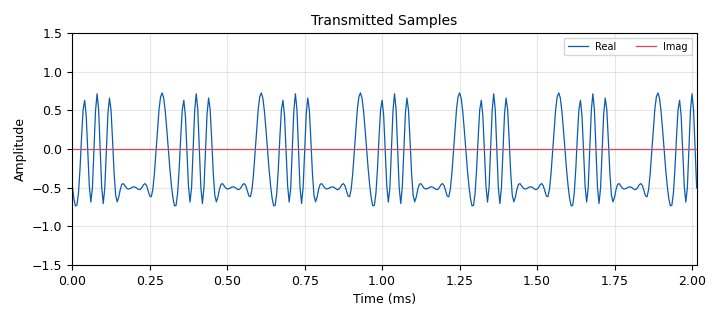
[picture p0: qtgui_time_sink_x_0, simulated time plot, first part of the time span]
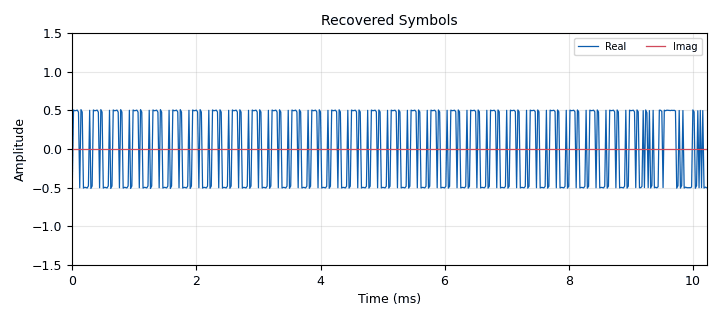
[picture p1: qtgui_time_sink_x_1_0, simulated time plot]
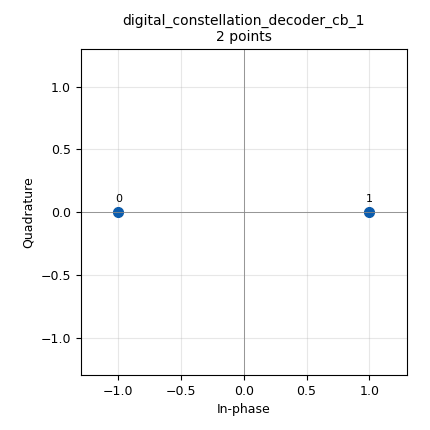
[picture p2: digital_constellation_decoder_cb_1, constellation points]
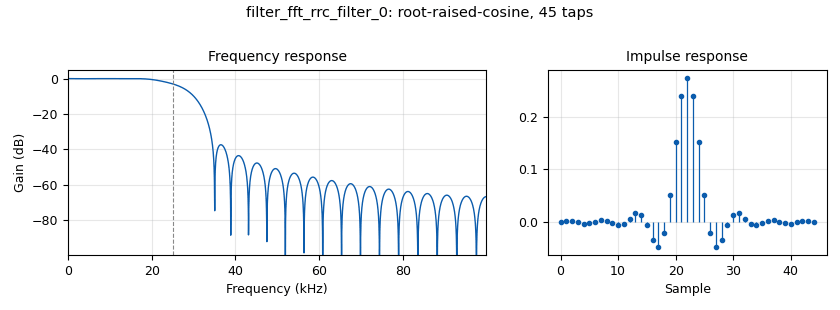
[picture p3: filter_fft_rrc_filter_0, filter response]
options:
  parameters:
    author: Frank Fu
    generate_options: qt_gui
    id: bpskfile3
    output_language: python
    title: BPSK File Transfer 3
  states: {}

blocks:
- name: constel
  id: variable_constellation
  parameters:
    precision: '8'
    type: bpsk
  states: {}
- name: hdr
  id: variable
  parameters:
    value: digital.header_format_default(digital.packet_utils.default_access_code, 0)
  states: {}
- name: packets
  id: variable
  parameters:
    value: '5'
  states: {}
- name: payload_size
  id: variable
  parameters:
    value: '64'
  states: {}
- name: postamble_size
  id: variable
  parameters:
    value: '8'
  states: {}
- name: preamble_size
  id: variable
  parameters:
    value: '32'
  states: {}
- name: samp_rate
  id: variable
  parameters:
    value: 200e3
  states: {}
- name: sps
  id: variable
  parameters:
    value: '4'
  states: {}
- name: blocks_message_debug_0
  id: blocks_message_debug
  parameters: {}
  states: {}
- name: blocks_multiply_const_vxx_0
  id: blocks_multiply_const_vxx
  parameters:
    const: '0.5'
    type: complex
  states: {}
- name: blocks_repack_bits_bb_1
  id: blocks_repack_bits_bb
  parameters:
    align_output: 'True'
    endianness: gr.GR_MSB_FIRST
    k: '1'
    l: '8'
    len_tag_key: packet_len
  states: {}
- name: blocks_stream_to_tagged_stream_0_0_0
  id: blocks_stream_to_tagged_stream
  parameters:
    len_tag_key: '"packet_len"'
    packet_len: payload_size
    type: byte
  states: {}
- name: blocks_stream_to_tagged_stream_0_0_0_0
  id: blocks_stream_to_tagged_stream
  parameters:
    len_tag_key: '"packet_len"'
    packet_len: preamble_size
    type: byte
  states: {}
- name: blocks_stream_to_tagged_stream_0_0_0_0_0
  id: blocks_stream_to_tagged_stream
  parameters:
    len_tag_key: '"packet_len"'
    packet_len: postamble_size
    type: byte
  states: {}
- name: blocks_tag_gate_0
  id: blocks_tag_gate
  parameters:
    propagate_tags: 'False'
    type: complex
  states: {}
- name: blocks_tagged_stream_mux_0
  id: blocks_tagged_stream_mux
  parameters:
    comment: |-
      Preamble
      Header
      Payload + CRC
      Postamble
    lengthtagname: packet_len
    ninputs: '4'
    type: byte
  states: {}
- name: blocks_throttle2_0
  id: blocks_throttle2
  parameters:
    limit: items
    maximum: '512'
    samples_per_second: samp_rate
    type: complex
  states: {}
- name: blocks_vector_source_x_0
  id: blocks_vector_source_x
  parameters:
    repeat: 'True'
    type: byte
    vector: '[0xc0, 0xaf]'
  states: {}
- name: blocks_vector_source_x_0_0
  id: blocks_vector_source_x
  parameters:
    repeat: 'True'
    type: byte
    vector: '[0xc0, 0xaf]'
  states: {}
- name: blocks_vector_source_x_2
  id: blocks_vector_source_x
  parameters:
    repeat: 'False'
    tags: ''
    type: byte
    vector: '[p + 48 for p in range(packets) for _ in range(payload_size)]'
  states: {}
- name: digital_constellation_decoder_cb_1
  id: digital_constellation_decoder_cb
  parameters:
    constellation: constel
  states: {}
- name: digital_constellation_modulator_0
  id: digital_constellation_modulator
  parameters:
    constellation: constel
    differential: 'True'
    excess_bw: '0.35'
    samples_per_symbol: sps
  states: {}
- name: digital_correlate_access_code_xx_ts_0
  id: digital_correlate_access_code_xx_ts
  parameters:
    access_code: digital.packet_utils.default_access_code
    tagname: packet_len
    threshold: '0'
    type: byte
  states: {}
- name: digital_costas_loop_cc_0
  id: digital_costas_loop_cc
  parameters:
    order: len(constel.points())
    w: 2*3.14/100
  states: {}
- name: digital_crc32_bb_0
  id: digital_crc32_bb
  parameters:
    check: 'False'
    lengthtagname: '"packet_len"'
    packed: 'True'
  states: {}
- name: digital_crc32_bb_1
  id: digital_crc32_bb
  parameters:
    check: 'True'
    lengthtagname: packet_len
    packed: 'True'
  states: {}
- name: digital_diff_decoder_bb_0
  id: digital_diff_decoder_bb
  parameters:
    coding: digital.DIFF_DIFFERENTIAL
    modulus: len(constel.points())
  states: {}
- name: digital_protocol_formatter_bb_0
  id: digital_protocol_formatter_bb
  parameters:
    format: hdr
    len_tag_key: packet_len
  states: {}
- name: digital_symbol_sync_xx_0
  id: digital_symbol_sync_xx
  parameters:
    constellation: constel.base()
    damping: '1.0'
    loop_bw: '0.045'
    max_dev: '1.5'
    nfilters: '32'
    osps: '1'
    resamp_type: digital.IR_MMSE_8TAP
    sps: sps
    ted_gain: '0.1'
    ted_type: digital.TED_SIGNAL_TIMES_SLOPE_ML
    type: cc
  states: {}
- name: filter_fft_rrc_filter_0
  id: filter_fft_rrc_filter
  parameters:
    alpha: '0.35'
    decim: '1'
    gain: '1'
    ntaps: 11*sps
    samp_rate: samp_rate
    sym_rate: samp_rate/sps
    type: ccc
  states: {}
- name: note_0
  id: note
  parameters:
    note: Receiver
  states: {}
- name: note_1
  id: note
  parameters:
    note: transmitter
  states: {}
- name: pdu_tagged_stream_to_pdu_0
  id: pdu_tagged_stream_to_pdu
  parameters:
    tag: packet_len
    type: byte
  states: {}
- name: qtgui_time_sink_x_0
  id: qtgui_time_sink_x
  parameters:
    grid: 'True'
    gui_hint: '[0, 0, 1, 1]'
    label1: Real
    label2: Imag
    name: '"Transmitted Samples"'
    size: '2048'
    srate: samp_rate
    style2: '3'
    tr_delay: '0.0'
    tr_mode: qtgui.TRIG_MODE_TAG
    tr_tag: '"packet_len"'
    type: complex
    ymax: '1.5'
    ymin: '-1.5'
  states: {}
- name: qtgui_time_sink_x_1_0
  id: qtgui_time_sink_x
  parameters:
    grid: 'True'
    gui_hint: '[1, 0, 1, 1]'
    label1: Real
    label2: Imag
    name: Recovered Symbols
    size: '512'
    srate: samp_rate/sps
    style2: '3'
    tr_delay: '0.0'
    tr_level: '0.01'
    type: complex
    update_time: '0.1'
    ymax: '1.5'
    ymin: '-1.5'
  states: {}
- name: virtual_sink_0
  id: virtual_sink
  parameters:
    stream_id: packet
  states: {}
- name: virtual_sink_1
  id: virtual_sink
  parameters:
    stream_id: transmit
  states: {}
- name: virtual_sink_3
  id: virtual_sink
  parameters:
    stream_id: recovery
  states: {}
- name: virtual_sink_4
  id: virtual_sink
  parameters:
    stream_id: payload
  states: {}
- name: virtual_source_0
  id: virtual_source
  parameters:
    stream_id: packet
  states: {}
- name: virtual_source_1
  id: virtual_source
  parameters:
    stream_id: transmit
  states: {}
- name: virtual_source_2
  id: virtual_source
  parameters:
    stream_id: recovery
  states: {}
- name: virtual_source_3
  id: virtual_source
  parameters:
    stream_id: payload
  states: {}

connections:
- [blocks_multiply_const_vxx_0, '0', blocks_tag_gate_0, '0']
- [blocks_multiply_const_vxx_0, '0', blocks_throttle2_0, '0']
- [blocks_multiply_const_vxx_0, '0', qtgui_time_sink_x_0, '0']
- [blocks_repack_bits_bb_1, '0', digital_crc32_bb_1, '0']
- [blocks_stream_to_tagged_stream_0_0_0, '0', digital_crc32_bb_0, '0']
- [blocks_stream_to_tagged_stream_0_0_0_0, '0', blocks_tagged_stream_mux_0, '0']
- [blocks_stream_to_tagged_stream_0_0_0_0_0, '0', blocks_tagged_stream_mux_0, '3']
- [blocks_tag_gate_0, '0', virtual_sink_1, '0']
- [blocks_tagged_stream_mux_0, '0', virtual_sink_0, '0']
- [blocks_vector_source_x_0, '0', blocks_stream_to_tagged_stream_0_0_0_0, '0']
- [blocks_vector_source_x_0_0, '0', blocks_stream_to_tagged_stream_0_0_0_0_0, '0']
- [blocks_vector_source_x_2, '0', blocks_stream_to_tagged_stream_0_0_0, '0']
- [digital_constellation_decoder_cb_1, '0', digital_diff_decoder_bb_0, '0']
- [digital_constellation_modulator_0, '0', blocks_multiply_const_vxx_0, '0']
- [digital_correlate_access_code_xx_ts_0, '0', virtual_sink_4, '0']
- [digital_costas_loop_cc_0, '0', qtgui_time_sink_x_1_0, '0']
- [digital_costas_loop_cc_0, '0', virtual_sink_3, '0']
- [digital_crc32_bb_0, '0', blocks_tagged_stream_mux_0, '2']
- [digital_crc32_bb_0, '0', digital_protocol_formatter_bb_0, '0']
- [digital_crc32_bb_1, '0', pdu_tagged_stream_to_pdu_0, '0']
- [digital_diff_decoder_bb_0, '0', digital_correlate_access_code_xx_ts_0, '0']
- [digital_protocol_formatter_bb_0, '0', blocks_tagged_stream_mux_0, '1']
- [digital_symbol_sync_xx_0, '0', digital_costas_loop_cc_0, '0']
- [filter_fft_rrc_filter_0, '0', digital_symbol_sync_xx_0, '0']
- [pdu_tagged_stream_to_pdu_0, pdus, blocks_message_debug_0, print]
- [virtual_source_0, '0', digital_constellation_modulator_0, '0']
- [virtual_source_1, '0', filter_fft_rrc_filter_0, '0']
- [virtual_source_2, '0', digital_constellation_decoder_cb_1, '0']
- [virtual_source_3, '0', blocks_repack_bits_bb_1, '0']

metadata:
  file_format: 1
  grc_version: 3.10.7.0
